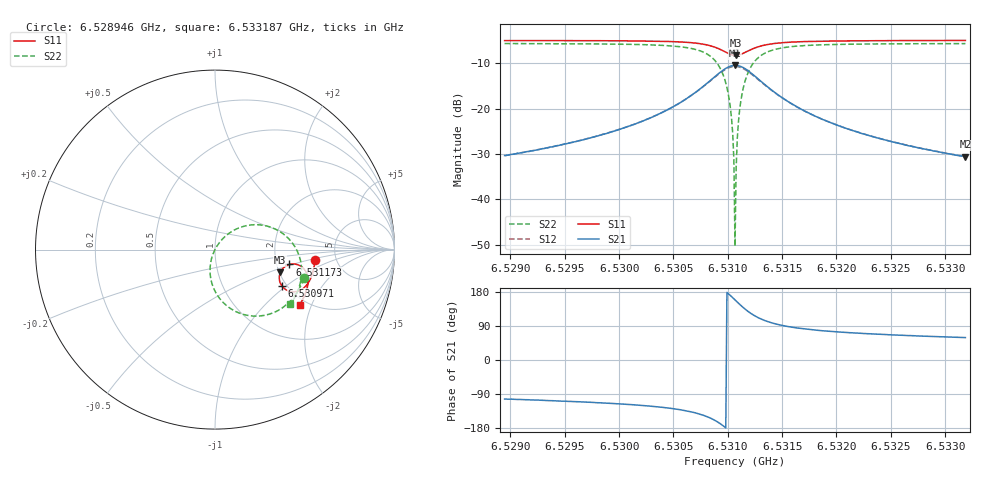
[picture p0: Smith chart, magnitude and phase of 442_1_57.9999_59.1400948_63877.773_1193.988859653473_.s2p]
#  HZ  S  RI  R  50.00
! Rohde & Schwarz Vector Network Analyzer
! Rohde-Schwarz,ZNB20-2Port,1311601062101988,3.16
! Created: UTC 3/21/2024, 1:10:05 AM
! freq[Hz]  re:S11  im:S11  re:S21  im:S21  re:S12  im:S12  re:S22  im:S22
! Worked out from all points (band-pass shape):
!   401 points, 6.528946 GHz to 6.533187 GHz, reference 50 ohm
!   highest |S21| = -10.47 dB at 6.531067 GHz (marker M1); lowest = -30.6 dB at 6.533187 GHz (marker M2)
!   |S21| within 3 dB of the highest: 6.530856 GHz to 6.531281 GHz (424.5 kHz wide, 0.0065 % of centre)
!   lowest |S11| = -8.3 dB at 6.531077 GHz (marker M3), VSWR 2.25, Z = 101 - j30.3 ohm
!   |S11| at or under -10 dB: nowhere
!   |S22| runs from -50.3 to -5.7 dB; largest |S21 - S12| = 0.011
!   S11 on the Smith chart (normalised r, x): 6.528946 GHz: 3.45, -0.57; 6.530971 GHz: 1.89, -0.93; 6.531173 GHz: 2.35, -0.47; 6.533187 GHz: 1.82, -1.65
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6.5289464e9  0.5582 -0.0566  -0.00684 -0.0297  -0.00733 -0.0296  0.4951 -0.1596
6.5296568e9  0.5481 -0.1154  -0.0159 -0.0422  -0.0169 -0.0419  0.4653 -0.2252
6.5303671e9  0.52 -0.1849  -0.0487 -0.0724  -0.0507 -0.0713  0.3859 -0.3169
6.5307912e9  0.4507 -0.2342  -0.1537 -0.0981  -0.1561 -0.0921  0.1838 -0.367
6.5308972e9  0.407 -0.2293  -0.2217 -0.0727  -0.2211 -0.0637  0.0677 -0.3147
6.5309715e9  0.3729 -0.2029  -0.272 -0.0161  -0.2667 -0.00659  -0.0092 -0.2112
6.5310245e9  0.3588 -0.1681  -0.2891 0.05  -0.2801 0.057  -0.0271 -0.0986
6.5310351e9  0.358 -0.1599  -0.2886 0.0648  -0.2793 0.0709  -0.0244 -0.0743
6.5310457e9  0.3582 -0.1516  -0.2871 0.0796  -0.2772 0.0852  -0.0193 -0.05
6.5310563e9  0.3592 -0.1434  -0.2837 0.0947  -0.2736 0.099  -0.0115 -0.0259
6.5310669e9  0.3612 -0.1353  -0.2789 0.1091  -0.2688 0.1127  -0.00134 -0.00275
6.5310775e9  0.3639 -0.1274  -0.2728 0.1234  -0.2625 0.1258  0.0109 0.0192
6.5310881e9  0.3676 -0.1199  -0.2653 0.1365  -0.2551 0.1382  0.0254 0.0399
6.5310987e9  0.372 -0.1129  -0.2567 0.1489  -0.2467 0.1496  0.0415 0.0589
6.5311093e9  0.3771 -0.1064  -0.2468 0.1602  -0.2372 0.1602  0.0592 0.076
6.5311305e9  0.3886 -0.0956  -0.2252 0.1792  -0.2164 0.1778  0.0981 0.1038
6.5311729e9  0.4149 -0.0828  -0.1773 0.2022  -0.171 0.1993  0.1807 0.1346
6.5312471e9  0.457 -0.0831  -0.1035 0.2047  -0.1003 0.2017  0.3056 0.1265
6.5313531e9  0.4935 -0.1053  -0.0397 0.1748  -0.0383 0.173  0.4098 0.0614
6.5317772e9  0.5182 -0.1847  0.0153 0.0843  0.0161 0.0841  0.483 -0.1277
6.5324876e9  0.4986 -0.2564  0.0174 0.0403  0.018 0.0403  0.4552 -0.2444
6.5331873e9  0.4713 -0.3081  0.0152 0.0254  0.0158 0.025  0.4205 -0.3059
